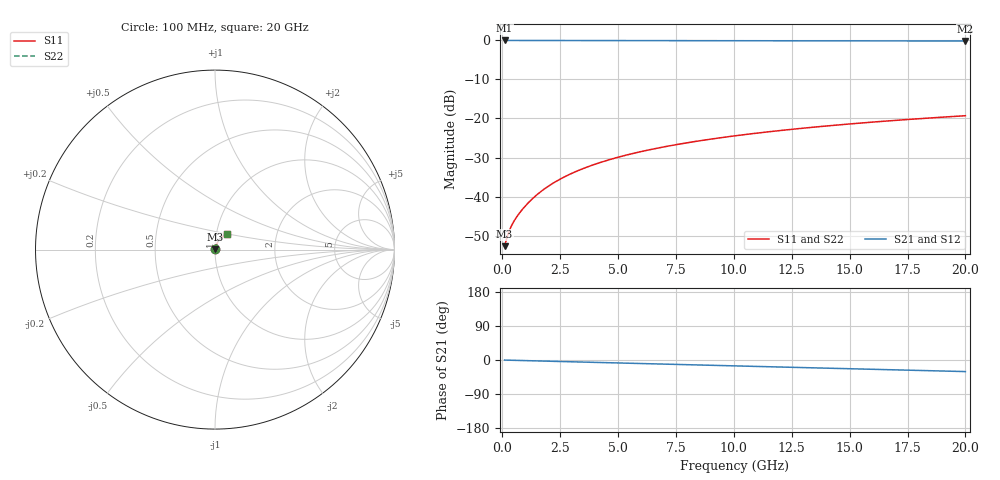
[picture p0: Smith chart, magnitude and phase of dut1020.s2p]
! Touchstone file exported from HFSS 2026.1.0
!  File:  C:/ffzhzh/LocalFiles/Ansys_Project_Files/temp_train_TMRDL_1020_1783159867_55132.aedt
!  Generated:  06:12:15 PM Jul  4, 2026
!  Design:  TMRDL
!  Project:  temp_train_TMRDL_1020_1783159867_55132
! Variables:
!  h_bsmrdl = 2um
!  h_ox = 20um
!  h_rdl = 5um
!  h_sub = 80um
!  h_tmrdl = 3.66um
!  h_tsv = 80um
!  h_via = 3um
!  l_bsmrdl = 300um
!  l_sub = 917.21um
!  l_tmrdl = 517.21um
!  m_sub = 200um
!  pitch = 36.6um
!  r_tsv = 6um
!  s_tmrdl = 10um
!  w_bsmrdl = 18um
!  w_sub = 500um
!  w_tmrdl = 28.05um
!  x_tsv_center1 = 531.235um
!  x_tsv_center2 = 849.235um
!  x_tsv_center3 = 1394.495um
!  x_tsv_center4 = 1712.495um
!  x_tsv_center5 = 2257.755um
!  x_tsv_center6 = 2575.755um
# GHz S MA R 50.000000
! Terminal data exported
! Port[1] = TM_RDL1_1_T1
! Port[2] = TM_RDL1_1_T2
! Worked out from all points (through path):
!   200 points, 100 MHz to 20 GHz, reference 50 ohm
!   highest |S21| = -0.02 dB at 100 MHz (marker M1); lowest = -0.2 dB at 20 GHz (marker M2)
!   group delay of S21, straight-line fit = 4.23 ps
!   lowest |S11| = -52.7 dB at 100 MHz (marker M3), VSWR 1.00, Z = 50.2 + j0.101 ohm
!   |S11| at or under -10 dB: start of sweep to end of sweep
!   |S22| runs from -52.7 to -19.3 dB; largest |S21 - S12| = 3.1e-15
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0.1  0.002317 25.6  0.9979 -0.2  0.9979 -0.2  0.002317 25.6
! Gamma 0 0 0 0
! Port Impedance 50 0 50 0
0.2  0.002986 38.5  0.9977 -0.3  0.9977 -0.3  0.002986 38.5
0.3  0.003649 44.8  0.9974 -0.5  0.9974 -0.5  0.003648 44.8
0.4  0.00425 48.9  0.9972 -0.7  0.9972 -0.7  0.00425 48.9
0.5  0.004814 52.3  0.9971 -0.8  0.9971 -0.8  0.004814 52.2
0.6  0.005365 55.1  0.997 -1.0  0.997 -1.0  0.005364 55.1
0.8  0.006472 59.8  0.9969 -1.3  0.9969 -1.3  0.006472 59.8
1  0.007611 63.3  0.9968 -1.6  0.9968 -1.6  0.007611 63.3
1.2  0.008782 66.0  0.9967 -1.9  0.9967 -1.9  0.008781 66.0
1.7  0.0118 70.1  0.9965 -2.7  0.9965 -2.7  0.0118 70.1
2.2  0.01488 72.1  0.9962 -3.5  0.9962 -3.5  0.01488 72.1
2.8  0.01859 73.2  0.9959 -4.4  0.9959 -4.4  0.01859 73.2
3.5  0.02289 73.5  0.9954 -5.5  0.9954 -5.5  0.02289 73.5
4.2  0.02714 73.3  0.9949 -6.6  0.9949 -6.6  0.02714 73.3
5  0.0319 72.7  0.9943 -7.8  0.9943 -7.8  0.0319 72.7
5.9  0.03715 71.8  0.9935 -9.2  0.9935 -9.2  0.03714 71.8
6.8  0.04228 70.7  0.9928 -10.6  0.9928 -10.6  0.04227 70.8
8.3  0.05059 68.9  0.9915 -12.9  0.9915 -12.9  0.05058 68.9
10.1  0.06024 66.6  0.99 -15.6  0.99 -15.6  0.06023 66.6
13.4  0.07719 62.3  0.9874 -20.6  0.9874 -20.6  0.07717 62.3
16.7  0.09327 57.9  0.9849 -25.6  0.9849 -25.6  0.09324 57.9
20  0.1085 53.4  0.9824 -30.6  0.9824 -30.6  0.1084 53.5
